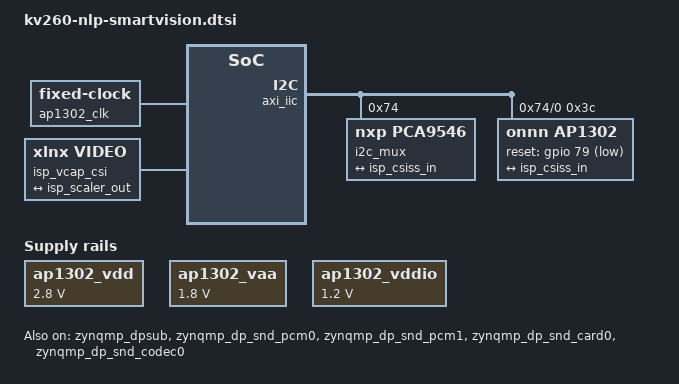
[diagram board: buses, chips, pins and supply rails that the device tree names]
// SPDX-License-Identifier: Apache-2.0
/*
 * dts file for Xilinx KV260 nlp-smartvision
 *
 * (C) Copyright 2020 - 2021, Xilinx, Inc.
 *
 */

/dts-v1/;
/plugin/;
/ {
	fragment@0 {
		target = <&fpga_full>;
		overlay0: __overlay__ {
			#address-cells = <2>;
			#size-cells = <2>;
			firmware-name = "kv260-nlp-smartvision.bit.bin";
			resets = <&zynqmp_reset 116>, <&zynqmp_reset 117>, <&zynqmp_reset 118>, <&zynqmp_reset 119>;
		};
	};

	fragment@1 {
		target = <&amba>;
		overlay1: __overlay__ {
			afi0: afi0 {
				compatible = "xlnx,afi-fpga";
				config-afi = <0 0>, <1 0>, <2 0>, <3 0>, <4 1>, <5 1>, <6 0>, <7 0>, <8 0>, <9 0>, <10 2>, <11 2>, <12 2>, <13 2>, <14 0x000>, <15 0x000>;
			};

			clocking0: clocking0 {
				#clock-cells = <0>;
				assigned-clock-rates = <99999001>;
				assigned-clocks = <&zynqmp_clk 71>;
				clock-output-names = "fabric_clk";
				clocks = <&zynqmp_clk 71>;
				compatible = "xlnx,fclk";
			};

			clocking1: clocking1 {
				#clock-cells = <0>;
				assigned-clock-rates = <99999001>;
				assigned-clocks = <&zynqmp_clk 72>;
				clock-output-names = "fabric_clk";
				clocks = <&zynqmp_clk 72>;
				compatible = "xlnx,fclk";
			};

			clocking2: clocking2 {
				#clock-cells = <0>;
				assigned-clock-rates = <299997009>;
				assigned-clocks = <&zynqmp_clk 73>;
				clock-output-names = "fabric_clk";
				clocks = <&zynqmp_clk 73>;
				compatible = "xlnx,fclk";
			};

			clocking3: clocking3 {
				#clock-cells = <0>;
				assigned-clock-rates = <374996246>;
				assigned-clocks = <&zynqmp_clk 74>;
				clock-output-names = "fabric_clk";
				clocks = <&zynqmp_clk 74>;
				compatible = "xlnx,fclk";
			};
		};
	};

	fragment@2 {
		target = <&zynqmp_dpsub>;
		overlay2: __overlay__ {
			status = "okay";
		};
	};

	fragment@3 {
		target = <&zynqmp_dp_snd_pcm0>;
		__overlay__ {
			status = "okay";
		};
	};

	fragment@4 {
		target = <&zynqmp_dp_snd_pcm1>;
		__overlay__ {
			status = "okay";
		};
	};

	fragment@5 {
		target = <&zynqmp_dp_snd_card0>;
		__overlay__ {
			status = "okay";
		};
	};

	fragment@6 {
		target = <&zynqmp_dp_snd_codec0>;
		__overlay__ {
			status = "okay";
		};
	};

	fragment@7 {
		target = <&amba>;
		overlay7: __overlay__ {
			#address-cells = <2>;
			#size-cells = <2>;

			misc_clk_0: misc_clk_0 {
				#clock-cells = <0x0>;
				clock-frequency = <99999000>;
				compatible = "fixed-clock";
			};

			misc_clk_1: misc_clk_1 {
				#clock-cells = <0x0>;
				clock-frequency = <199998000>;
				compatible = "fixed-clock";
			};

			misc_clk_2: misc_clk_2 {
				#clock-cells = <0x0>;
				clock-frequency = <299997000>;
				compatible = "fixed-clock";
			};

			misc_clk_5: misc_clk_5 {
				#clock-cells = <0x0>;
				clock-frequency = <49999500>;
				compatible = "fixed-clock";
			};

			misc_clk_6: misc_clk_6 {
				#clock-cells = <0x0>;
				clock-frequency = <18432019>;
				compatible = "fixed-clock";
			};

			ap1302_clk: sensor_clk {
				#clock-cells = <0x0>;
				compatible = "fixed-clock";
				clock-frequency = <0x48000000>;
			};

			ap1302_vdd: fixedregulator@0 {
				compatible = "regulator-fixed";
				regulator-name = "ap1302_vdd";
				regulator-min-microvolt = <2800000>;
				regulator-max-microvolt = <2800000>;
				enable-active-high;
			};

			ap1302_vaa: fixedregulator@1 {
				compatible = "regulator-fixed";
				regulator-name = "ap1302_vaa";
				regulator-min-microvolt = <1800000>;
				regulator-max-microvolt = <1800000>;
			};

			ap1302_vddio: fixedregulator@2 {
				compatible = "regulator-fixed";
				regulator-name = "ap1302_vddio";
				regulator-min-microvolt = <1200000>;
				regulator-max-microvolt = <1200000>;
			};

			axi_iic: i2c@80030000 {
				#address-cells = <1>;
				#size-cells = <0>;
				clock-names = "s_axi_aclk";
				clocks = <&misc_clk_0>;
				compatible = "xlnx,axi-iic-2.0", "xlnx,xps-iic-2.00.a";
				interrupt-names = "iic2intc_irpt";
				interrupt-parent = <&gic>;
				interrupts = <0 107 4>;
				reg = <0x0 0x80030000 0x0 0x10000>;

				i2c_mux: i2c-mux@74 {
					compatible = "nxp,pca9546";
					#address-cells = <1>;
					#size-cells = <0>;
					reg = <0x74>;
					i2c@0 {
						#address-cells = <1>;
						#size-cells = <0>;
						reg = <0>;
						ap1302: isp@3c {
							compatible = "onnn,ap1302";
							reg = <0x3c>;
							#address-cells = <1>;
							#size-cells = <0>;
							reset-gpios = <&gpio 79 1>;
							clocks = <&ap1302_clk>;
							sensors {
								#address-cells = <1>;
								#size-cells = <0>;
								onnn,model = "onnn,ar1335";
								sensor@0 {
									reg = <0>;
									vdd-supply = <&ap1302_vdd>;
									vaa-supply = <&ap1302_vaa>;
									vddio-supply = <&ap1302_vddio>;
								};
							};
							ports {
								#address-cells = <1>;
								#size-cells = <0>;
								port@0 {
									reg = <2>;
									isp_out: endpoint {
										remote-endpoint = <&isp_csiss_in>;
										data-lanes = <1 2 3 4>;
									};
								};
							};
						};
					};
				};
			};

			isp_csiss: csiss@80000000 {
				compatible = "xlnx,mipi-csi2-rx-subsystem-5.0";
				reg = <0x0 0x80000000 0x0 0x10000>;
				clock-names = "lite_aclk", "dphy_clk_200M", "video_aclk";
				clocks = <&misc_clk_0>, <&misc_clk_1>, <&misc_clk_2>;
				interrupt-parent = <&gic>;
				interrupts = <0 104 4>;
				xlnx,csi-pxl-format = "YUV422_8bit";
				xlnx,axis-tdata-width = <32>;
				xlnx,max-lanes = <4>;
				xlnx,en-active-lanes;
				xlnx,vc = <4>;
				xlnx,ppc = <1>;
				xlnx,vfb;

				ports {
					#address-cells = <0x1>;
					#size-cells = <0x0>;

					port@0 {
						reg = <0x0>;
						xlnx,video-format = <0x0>;
						xlnx,video-width = <0x8>;
						isp_csiss_out: endpoint {
							remote-endpoint = <&isp_scaler_in>;
						};
					};
					port@1 {
						reg = <0x1>;
						xlnx,video-format = <0x0>;
						xlnx,video-width = <0x8>;

						isp_csiss_in: endpoint {
							data-lanes = <1 2 3 4>;
							remote-endpoint = <&isp_out>;
						};
					};
				};
			};

			isp_scaler_1: scaler@b0100000 {
				compatible = "xlnx,v-vpss-scaler-2.2";
				reg = <0x0 0xb0100000 0x0 0x40000>;
				clock-names = "aclk_axis", "aclk_ctrl";
				clocks = <&misc_clk_2>, <&misc_clk_2>;
				xlnx,num-hori-taps = <6>;
				xlnx,num-vert-taps = <6>;
				xlnx,pix-per-clk = <1>;
				reset-gpios = <&gpio 85 1>;
				xlnx,max-height = <2160>;
				xlnx,max-width = <3840>;

				ports {
					#address-cells = <1>;
					#size-cells = <0>;

					port@0 {
						reg = <0>;
						xlnx,video-format = <0x0>;
						xlnx,video-width = <8>;

						isp_scaler_in: endpoint {
							remote-endpoint = <&isp_csiss_out>;
						};
					};
					port@1 {
						reg = <1>;
						xlnx,video-format = <0x3>;
						xlnx,video-width = <8>;

						isp_scaler_out: endpoint {
							remote-endpoint = <&isp_vcap_csi_in>;
						};
					};
				};
			};

			isp_fb_wr_csi: fb_wr@b0010000 {
				compatible = "xlnx,axi-frmbuf-wr-v2.1";
				reg = <0x0 0xb0010000 0x0 0x10000>;
				#dma-cells = <1>;
				interrupt-parent = <&gic>;
				interrupts = <0 105 4>;
				xlnx,vid-formats = "nv12", "xbgr8888", "bgr888", "xrgb8888", "rgb888";
				reset-gpios = <&gpio 78 1>;
				xlnx,dma-addr-width = <32>;
				xlnx,pixels-per-clock = <1>;
				xlnx,max-width = <3840>;
				xlnx,max-height = <2160>;
				clocks = <&misc_clk_2>;
				clock-names = "ap_clk";
			};

			isp_vcap_csi {
				compatible = "xlnx,video";
				dmas = <&isp_fb_wr_csi 0>;
				dma-names = "port0";

				ports {
					#address-cells = <1>;
					#size-cells = <0>;

					port@0 {
						reg = <0>;
						direction = "input";

						isp_vcap_csi_in: endpoint {
							remote-endpoint = <&isp_scaler_out>;
						};
					};
				};
			};


			zocl: zyxclmm_drm {
				compatible = "xlnx,zocl";
				status = "okay";
				interrupt-parent = <&gic>;
				interrupts = <0 89  4>, <0 90  4>, <0 91  4>, <0 92  4>,
					     <0 93  4>, <0 94  4>, <0 95  4>, <0 96  4>;
			};
		};
	};
};
